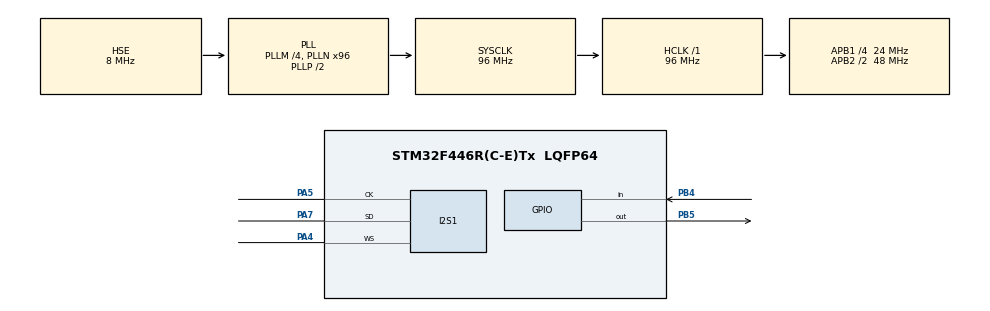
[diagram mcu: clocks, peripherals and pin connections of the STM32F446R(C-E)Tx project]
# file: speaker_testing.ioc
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Dma.Request0=SPI1_TX
Dma.SPI1_TX.0.Direction=DMA_MEMORY_TO_PERIPH
Dma.SPI1_TX.0.FIFOMode=DMA_FIFOMODE_ENABLE
Dma.SPI1_TX.0.FIFOThreshold=DMA_FIFO_THRESHOLD_FULL
Dma.SPI1_TX.0.Instance=DMA2_Stream3
Dma.SPI1_TX.0.MemBurst=DMA_MBURST_SINGLE
Dma.SPI1_TX.0.MemDataAlignment=DMA_MDATAALIGN_HALFWORD
Dma.SPI1_TX.0.MemInc=DMA_MINC_ENABLE
Dma.SPI1_TX.0.Mode=DMA_CIRCULAR
Dma.SPI1_TX.0.PeriphBurst=DMA_PBURST_SINGLE
Dma.SPI1_TX.0.PeriphDataAlignment=DMA_PDATAALIGN_HALFWORD
Dma.SPI1_TX.0.PeriphInc=DMA_PINC_DISABLE
Dma.SPI1_TX.0.Priority=DMA_PRIORITY_LOW
I2S1.AudioFreq=I2S_AUDIOFREQ_44K
I2S1.CPOL=I2S_CPOL_HIGH
I2S1.DataFormat=I2S_DATAFORMAT_16B
I2S1.ErrorAudioFreq=-1.35 %
I2S1.FullDuplexMode=I2S_FULLDUPLEXMODE_DISABLE
I2S1.Instance=SPI$Index
I2S1.RealAudioFreq=43.402 KHz
I2S1.VirtualMode=I2S_MODE_MASTER
Mcu.Family=STM32F4
Mcu.Name=STM32F446R(C-E)Tx
Mcu.Package=LQFP64
NVIC.DMA2_Stream3_IRQn=true\:0\:0\:false\:false\:true\:false\:true\:true
NVIC.PriorityGroup=NVIC_PRIORITYGROUP_4
PA4.Mode=Half_Duplex_Master
PA4.Signal=I2S1_WS
PA5.Mode=Half_Duplex_Master
PA5.Signal=I2S1_CK
PA7.Mode=Half_Duplex_Master
PA7.Signal=I2S1_SD
PB4.GPIO_PuPd=GPIO_PULLDOWN
PB4.Signal=GPIO_Input
PB5.Signal=GPIO_Output
PH0-OSC_IN.Mode=HSE-External-Oscillator
PH0-OSC_IN.Signal=RCC_OSC_IN
PH1-OSC_OUT.Mode=HSE-External-Oscillator
PH1-OSC_OUT.Signal=RCC_OSC_OUT
ProjectManager.HeapSize=0x200
ProjectManager.StackSize=0x400
ProjectManager.TargetToolchain=STM32CubeIDE
RCC.AHBFreq_Value=96000000
RCC.APB1CLKDivider=RCC_HCLK_DIV4
RCC.APB1Freq_Value=24000000
RCC.APB1TimFreq_Value=48000000
RCC.APB2CLKDivider=RCC_HCLK_DIV2
RCC.APB2Freq_Value=48000000
RCC.APB2TimFreq_Value=96000000
RCC.CortexFreq_Value=96000000
RCC.HCLKFreq_Value=96000000
RCC.HSE_VALUE=8000000
RCC.PLLI2SM=4
RCC.PLLI2SN=50
RCC.PLLM=4
RCC.PLLN=96
RCC.PLLSourceVirtual=RCC_PLLSOURCE_HSE
RCC.SYSCLKFreq_VALUE=96000000
RCC.SYSCLKSource=RCC_SYSCLKSOURCE_PLLCLK
RCC.USBFreq_Value=96000000
RCC.VCOOutputFreq_Value=192000000
board=custom

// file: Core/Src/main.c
/* USER CODE BEGIN Header */
/**
  ******************************************************************************
  * @file           : main.c
  * @brief          : Main program body
  ******************************************************************************
  * @attention
  *
  * Copyright (c) 2023 STMicroelectronics.
  * All rights reserved.
  *
  * This software is licensed under terms that can be found in the LICENSE file
  * in the root directory of this software component.
  * If no LICENSE file comes with this software, it is provided AS-IS.
  *
  ******************************************************************************
  */
/* USER CODE END Header */
#include "main.h"

/* USER CODE BEGIN Includes */
#include <stdint.h>
#include <stdio.h>
#include <string.h>
/* USER CODE END Includes */

/* USER CODE BEGIN PTD */
typedef struct {
    char     chunkId[4];
    uint32_t chunkSize;
    char     format[4];
    char     subchunk1Id[4];
    uint32_t subchunk1Size;
    uint16_t audioFormat;
    uint16_t numChannels;
    uint32_t sampleRate;
    uint32_t byteRate;
    uint16_t blockAlign;
    uint16_t bitsPerSample;
    char     subchunk2Id[4];
    uint32_t subchunk2Size;
} WavHeader;
/* USER CODE END PTD */

/* USER CODE BEGIN PM */
#define BUFFER_SIZE 1024
/* USER CODE END PM */

I2S_HandleTypeDef hi2s1;
DMA_HandleTypeDef hdma_spi1_tx;

void SystemClock_Config(void);
static void MX_GPIO_Init(void);
static void MX_DMA_Init(void);
static void MX_I2S1_Init(void);
/* USER CODE BEGIN PFP */
void readAudioData(uint16_t* buffer, size_t bufferSize, FILE* audioFile);
int readWavHeader(FILE* file, WavHeader* header);
void startDMATransfer(uint16_t* buffer, uint16_t bufferSize);
/* USER CODE END PFP */

/* USER CODE BEGIN 0 */
uint16_t audioBuffer[BUFFER_SIZE];
/* USER CODE END 0 */

int main(void)
{

  /* MCU Configuration--------------------------------------------------------*/

  /* Reset of all peripherals, Initializes the Flash interface and the Systick. */
  HAL_Init();

  /* Configure the system clock */
  SystemClock_Config();

  /* Initialize all configured peripherals */
  MX_GPIO_Init();
  MX_DMA_Init();
  MX_I2S1_Init();
  /* USER CODE BEGIN 2 */
  const char* filename = "dummy.txt";
  FILE* wavFile = fopen(filename, "r");
  if (!wavFile) {
//	  fprintf(stderr, "Error opening WAV file\n");
	  return 1;
  }

      // Read and parse the WAV file header
  WavHeader wavHeader;
  if (readWavHeader(wavFile, &wavHeader) == 0) {
          // Now you have the WAV file header information in wavHeader
          // You can use this information to configure your audio processing

//	  printf("Channels: %d\n", wavHeader.numChannels);
//      printf("Sample Rate: %d\n", wavHeader.sampleRate);
//      printf("Bits Per Sample: %d\n", wavHeader.bitsPerSample);

          // Additional processing based on header information

          // Proceed with reading and processing audio data
  }

      // Close the WAV file
  fclose(wavFile);

  /* USER CODE END 2 */

  /* Infinite loop */
  /* USER CODE BEGIN WHILE */
  while (1)
  {

	  if (HAL_GPIO_ReadPin(GPIOB, GPIO_PIN_4) == GPIO_PIN_RESET) {
	  	             // Button is pressed, turn on the LED
	  		  HAL_GPIO_WritePin(GPIOB, GPIO_PIN_5, GPIO_PIN_RESET);
	  	  } else {
	  	             // Button is not pressed, turn off the LED
	  		  HAL_GPIO_WritePin(GPIOB, GPIO_PIN_5, GPIO_PIN_SET);
	  	  }

	    // Fill the audio buffer with new data
	  readAudioData(audioBuffer, BUFFER_SIZE, wavFile);

	    // Configure DMA for buffer transfer
//	  configureDMA(audioBuffer, BUFFER_SIZE);

	    // Start DMA transfer
	  startDMATransfer(audioBuffer, BUFFER_SIZE);

	    // Wait for DMA transfer completion (blocking approach)
	  while (HAL_DMA_GetState(&hdma_spi1_tx) != HAL_DMA_STATE_READY) {
	        // You can optionally add a timeout mechanism here to avoid infinite waiting
	        // For example, you can implement a timeout counter and break the loop
	        // if the transfer takes too long or encounters an error.
	  }
    /* USER CODE END WHILE */

  }
}

void SystemClock_Config(void)
{
  RCC_OscInitTypeDef RCC_OscInitStruct = {0};
  RCC_ClkInitTypeDef RCC_ClkInitStruct = {0};

  /** Configure the main internal regulator output voltage
  */
  __HAL_RCC_PWR_CLK_ENABLE();
  __HAL_PWR_VOLTAGESCALING_CONFIG(PWR_REGULATOR_VOLTAGE_SCALE3);

  /** Initializes the RCC Oscillators according to the specified parameters
  * in the RCC_OscInitTypeDef structure.
  */
  RCC_OscInitStruct.OscillatorType = RCC_OSCILLATORTYPE_HSE;
  RCC_OscInitStruct.HSEState = RCC_HSE_ON;
  RCC_OscInitStruct.PLL.PLLState = RCC_PLL_ON;
  RCC_OscInitStruct.PLL.PLLSource = RCC_PLLSOURCE_HSE;
  RCC_OscInitStruct.PLL.PLLM = 4;
  RCC_OscInitStruct.PLL.PLLN = 96;
  RCC_OscInitStruct.PLL.PLLP = RCC_PLLP_DIV2;
  RCC_OscInitStruct.PLL.PLLQ = 2;
  RCC_OscInitStruct.PLL.PLLR = 2;
  if (HAL_RCC_OscConfig(&RCC_OscInitStruct) != HAL_OK)
  {
    Error_Handler();
  }

  /** Initializes the CPU, AHB and APB buses clocks
  */
  RCC_ClkInitStruct.ClockType = RCC_CLOCKTYPE_HCLK|RCC_CLOCKTYPE_SYSCLK
                              |RCC_CLOCKTYPE_PCLK1|RCC_CLOCKTYPE_PCLK2;
  RCC_ClkInitStruct.SYSCLKSource = RCC_SYSCLKSOURCE_PLLCLK;
  RCC_ClkInitStruct.AHBCLKDivider = RCC_SYSCLK_DIV1;
  RCC_ClkInitStruct.APB1CLKDivider = RCC_HCLK_DIV4;
  RCC_ClkInitStruct.APB2CLKDivider = RCC_HCLK_DIV2;

  if (HAL_RCC_ClockConfig(&RCC_ClkInitStruct, FLASH_LATENCY_3) != HAL_OK)
  {
    Error_Handler();
  }
}

static void MX_I2S1_Init(void)
{

  hi2s1.Instance = SPI1;
  hi2s1.Init.Mode = I2S_MODE_MASTER_TX;
  hi2s1.Init.Standard = I2S_STANDARD_PHILIPS;
  hi2s1.Init.DataFormat = I2S_DATAFORMAT_16B;
  hi2s1.Init.MCLKOutput = I2S_MCLKOUTPUT_DISABLE;
  hi2s1.Init.AudioFreq = I2S_AUDIOFREQ_44K;
  hi2s1.Init.CPOL = I2S_CPOL_HIGH;
  hi2s1.Init.ClockSource = I2S_CLOCK_PLL;
  hi2s1.Init.FullDuplexMode = I2S_FULLDUPLEXMODE_DISABLE;
  if (HAL_I2S_Init(&hi2s1) != HAL_OK)
  {
    Error_Handler();
  }

}

static void MX_DMA_Init(void)
{

  /* DMA controller clock enable */
  __HAL_RCC_DMA2_CLK_ENABLE();

  /* DMA interrupt init */
  /* DMA2_Stream3_IRQn interrupt configuration */
  HAL_NVIC_SetPriority(DMA2_Stream3_IRQn, 0, 0);
  HAL_NVIC_EnableIRQ(DMA2_Stream3_IRQn);

}

static void MX_GPIO_Init(void)
{
  GPIO_InitTypeDef GPIO_InitStruct = {0};

  /* GPIO Ports Clock Enable */
  __HAL_RCC_GPIOH_CLK_ENABLE();
  __HAL_RCC_GPIOA_CLK_ENABLE();
  __HAL_RCC_GPIOB_CLK_ENABLE();

  /*Configure GPIO pin Output Level */
  HAL_GPIO_WritePin(GPIOB, GPIO_PIN_5, GPIO_PIN_RESET);

  /*Configure GPIO pin : PB4 */
  GPIO_InitStruct.Pin = GPIO_PIN_4;
  GPIO_InitStruct.Mode = GPIO_MODE_INPUT;
  GPIO_InitStruct.Pull = GPIO_PULLDOWN;
  HAL_GPIO_Init(GPIOB, &GPIO_InitStruct);

  /*Configure GPIO pin : PB5 */
  GPIO_InitStruct.Pin = GPIO_PIN_5;
  GPIO_InitStruct.Mode = GPIO_MODE_OUTPUT_PP;
  GPIO_InitStruct.Pull = GPIO_NOPULL;
  GPIO_InitStruct.Speed = GPIO_SPEED_FREQ_LOW;
  HAL_GPIO_Init(GPIOB, &GPIO_InitStruct);

}

/* USER CODE BEGIN 4 */
void readAudioData(uint16_t* buffer, size_t bufferSize, FILE* audioFile) {
    size_t bytesRead = fread(buffer, sizeof(int16_t), bufferSize, audioFile);

    // Handle end-of-file or error conditions
    if (bytesRead < bufferSize) {
        // You might need to handle the end of the file or an error
        // For simplicity, let's assume a simple loop back to the beginning of the file
        fseek(audioFile, 0, SEEK_SET);
    }
}

int readWavHeader(FILE* file, WavHeader* header) {
    // Read the WAV file header
    size_t bytesRead = fread(header, sizeof(WavHeader), 1, file);

    // Check for successful header read
    if (bytesRead != 1) {
        fprintf(stderr, "Error reading WAV file header\n");
        return -1;
    }

    // Check if the file is a valid WAV file
    if (strncmp(header->chunkId, "RIFF", 4) != 0 || strncmp(header->format, "WAVE", 4) != 0) {
        fprintf(stderr, "Not a valid WAV file\n");
        return -1;
    }

    // Additional validation or processing can be added based on your needs

    return 0;
}

void startDMATransfer(uint16_t* buffer, uint16_t bufferSize) {
    // Configure DMA transfer
    HAL_DMA_Start(&hdma_spi1_tx, (uint32_t)buffer, (uint32_t)&(hi2s1.Instance->DR), bufferSize);

    // Enable the I2S DMA request
    __HAL_DMA_ENABLE(&hdma_spi1_tx);
//    I2S_DMA_REQ_TX

    // Start the I2S peripheral
    HAL_I2S_Transmit(&hi2s1, buffer, bufferSize, HAL_MAX_DELAY);
}
/* USER CODE END 4 */

void Error_Handler(void)
{
  __disable_irq();
  while (1)
  {
  }
}
